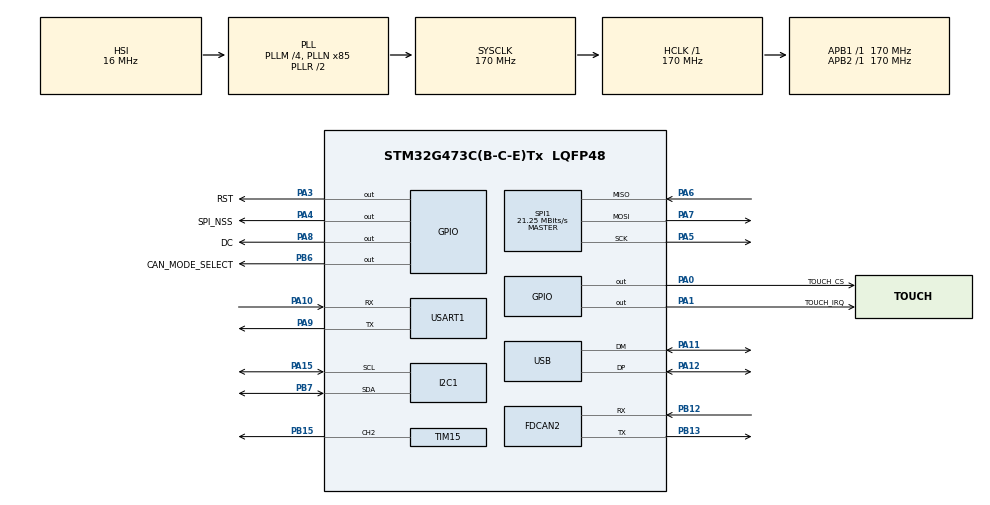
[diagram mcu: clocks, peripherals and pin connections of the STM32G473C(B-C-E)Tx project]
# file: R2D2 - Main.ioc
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Dma.Request0=USART1_RX
Dma.Request1=SPI1_TX
Dma.SPI1_TX.1.Direction=DMA_MEMORY_TO_PERIPH
Dma.SPI1_TX.1.EventEnable=DISABLE
Dma.SPI1_TX.1.Instance=DMA1_Channel2
Dma.SPI1_TX.1.MemDataAlignment=DMA_MDATAALIGN_BYTE
Dma.SPI1_TX.1.MemInc=DMA_MINC_ENABLE
Dma.SPI1_TX.1.Mode=DMA_NORMAL
Dma.SPI1_TX.1.PeriphDataAlignment=DMA_PDATAALIGN_BYTE
Dma.SPI1_TX.1.PeriphInc=DMA_PINC_DISABLE
Dma.SPI1_TX.1.Polarity=HAL_DMAMUX_REQ_GEN_RISING
Dma.SPI1_TX.1.Priority=DMA_PRIORITY_LOW
Dma.SPI1_TX.1.RequestNumber=1
Dma.SPI1_TX.1.SignalID=NONE
Dma.SPI1_TX.1.SyncEnable=DISABLE
Dma.SPI1_TX.1.SyncPolarity=HAL_DMAMUX_SYNC_NO_EVENT
Dma.SPI1_TX.1.SyncRequestNumber=1
Dma.SPI1_TX.1.SyncSignalID=NONE
Dma.USART1_RX.0.Direction=DMA_PERIPH_TO_MEMORY
Dma.USART1_RX.0.EventEnable=DISABLE
Dma.USART1_RX.0.Instance=DMA1_Channel1
Dma.USART1_RX.0.MemDataAlignment=DMA_MDATAALIGN_BYTE
Dma.USART1_RX.0.MemInc=DMA_MINC_ENABLE
Dma.USART1_RX.0.Mode=DMA_CIRCULAR
Dma.USART1_RX.0.PeriphDataAlignment=DMA_PDATAALIGN_BYTE
Dma.USART1_RX.0.PeriphInc=DMA_PINC_DISABLE
Dma.USART1_RX.0.Polarity=HAL_DMAMUX_REQ_GEN_RISING
Dma.USART1_RX.0.Priority=DMA_PRIORITY_LOW
Dma.USART1_RX.0.RequestNumber=1
Dma.USART1_RX.0.SignalID=NONE
Dma.USART1_RX.0.SyncEnable=DISABLE
Dma.USART1_RX.0.SyncPolarity=HAL_DMAMUX_SYNC_NO_EVENT
Dma.USART1_RX.0.SyncRequestNumber=1
Dma.USART1_RX.0.SyncSignalID=NONE
FDCAN2.CalculateBaudRateNominal=50000
FDCAN2.CalculateTimeBitNominal=20000
FDCAN2.CalculateTimeQuantumNominal=588.2352941176471
FDCAN2.NominalPrescaler=100
FDCAN2.NominalTimeSeg1=18
FDCAN2.NominalTimeSeg2=15
I2C1.Timing=0x40B285C2
Mcu.Family=STM32G4
Mcu.Name=STM32G473C(B-C-E)Tx
Mcu.Package=LQFP48
NVIC.DMA1_Channel1_IRQn=true\:0\:0\:false\:false\:true\:false\:true\:true
NVIC.DMA1_Channel2_IRQn=true\:0\:0\:false\:false\:true\:false\:true\:true
NVIC.PriorityGroup=NVIC_PRIORITYGROUP_4
NVIC.SPI1_IRQn=true\:0\:0\:false\:false\:true\:true\:true\:true
NVIC.TIM1_BRK_TIM15_IRQn=true\:0\:0\:false\:false\:true\:true\:true\:true
NVIC.TIM1_UP_TIM16_IRQn=true\:0\:0\:false\:false\:true\:true\:true\:true
NVIC.USART1_IRQn=true\:0\:0\:false\:false\:true\:true\:true\:true
NVIC.USB_LP_IRQn=true\:0\:0\:false\:false\:true\:false\:true\:true
PA0.GPIO_Label=TOUCH_CS
PA0.Signal=GPIO_Output
PA1.GPIO_Label=TOUCH_IRQ
PA1.Signal=GPIO_Output
PA10.Mode=Asynchronous
PA10.Signal=USART1_RX
PA11.Mode=Device
PA11.Signal=USB_DM
PA12.Mode=Device
PA12.Signal=USB_DP
PA13.Mode=Serial_Wire
PA13.Signal=SYS_JTMS-SWDIO
PA14.Mode=Serial_Wire
PA14.Signal=SYS_JTCK-SWCLK
PA15.Mode=I2C
PA15.Signal=I2C1_SCL
PA3.GPIO_Label=RST
PA3.Signal=GPIO_Output
PA4.GPIO_Label=SPI_NSS
PA4.Signal=GPIO_Output
PA5.Mode=Full_Duplex_Master
PA5.Signal=SPI1_SCK
PA6.Mode=Full_Duplex_Master
PA6.Signal=SPI1_MISO
PA7.Mode=Full_Duplex_Master
PA7.Signal=SPI1_MOSI
PA8.GPIO_Label=DC
PA8.Signal=GPIO_Output
PA9.Mode=Asynchronous
PA9.Signal=USART1_TX
PB12.GPIO_PuPd=GPIO_PULLUP
PB12.Mode=FDCAN_Activate
PB12.Signal=FDCAN2_RX
PB13.Mode=FDCAN_Activate
PB13.Signal=FDCAN2_TX
PB15.Signal=S_TIM15_CH2
PB6.GPIO_Label=CAN_MODE_SELECT
PB6.Signal=GPIO_Output
PB7.Mode=I2C
PB7.Signal=I2C1_SDA
ProjectManager.HeapSize=0x200
ProjectManager.StackSize=0x400
ProjectManager.TargetToolchain=STM32CubeIDE
RCC.ADC12Freq_Value=170000000
RCC.ADC345Freq_Value=170000000
RCC.AHBFreq_Value=170000000
RCC.APB1Freq_Value=170000000
RCC.APB1TimFreq_Value=170000000
RCC.APB2Freq_Value=170000000
RCC.APB2TimFreq_Value=170000000
RCC.CK48CLockSelection=RCC_USBCLKSOURCE_HSI48
RCC.CortexFreq_Value=170000000
RCC.EXTERNAL_CLOCK_VALUE=12288000
RCC.HCLKFreq_Value=170000000
RCC.HSE_VALUE=8000000
RCC.HSI48_VALUE=48000000
RCC.HSI_VALUE=16000000
RCC.LSE_VALUE=32768
RCC.PLLM=RCC_PLLM_DIV4
RCC.PLLN=85
RCC.SYSCLKFreq_VALUE=170000000
RCC.SYSCLKSource=RCC_SYSCLKSOURCE_PLLCLK
RCC.USBFreq_Value=48000000
RCC.VCOOutputFreq_Value=340000000
SH.S_TIM15_CH2.0=TIM15_CH2,PWM Generation2 CH2
SPI1.BaudRatePrescaler=SPI_BAUDRATEPRESCALER_8
SPI1.CalculateBaudRate=21.25 MBits/s
SPI1.DataSize=SPI_DATASIZE_8BIT
SPI1.Direction=SPI_DIRECTION_2LINES
SPI1.Mode=SPI_MODE_MASTER
SPI1.VirtualType=VM_MASTER
TIM1.AutoReloadPreload=TIM_AUTORELOAD_PRELOAD_ENABLE
TIM1.ClockDivision=TIM_CLOCKDIVISION_DIV4
TIM1.PeriodNoDither=1500
TIM1.Prescaler=42500-1
TIM15.Channel-PWM\ Generation2\ CH2=TIM_CHANNEL_2
USART1.AutoBaudRateEnableParam=UART_ADVFEATURE_AUTOBAUDRATE_DISABLE
USART1.VirtualMode-Asynchronous=VM_ASYNC
USB_DEVICE.CLASS_NAME_FS=CDC
USB_DEVICE.VirtualMode=Cdc
USB_DEVICE.VirtualModeFS=Cdc_FS
VP_SYS_VS_DBSignals.Mode=DisableDeadBatterySignals
VP_TIM15_VS_ClockSourceINT.Mode=Internal
VP_TIM1_VS_ClockSourceINT.Mode=Internal
VP_USB_DEVICE_VS_USB_DEVICE_CDC_FS.Mode=CDC_FS
board=custom

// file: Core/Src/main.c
/* USER CODE BEGIN Header */
/**
  ******************************************************************************
  * @file           : main.c
  * @brief          : Main program body
  ******************************************************************************
  * @attention
  *
  * Copyright (c) 2024 STMicroelectronics.
  * All rights reserved.
  *
  * This software is licensed under terms that can be found in the LICENSE file
  * in the root directory of this software component.
  * If no LICENSE file comes with this software, it is provided AS-IS.
  *
  ******************************************************************************
  */
/* USER CODE END Header */
#include "main.h"
#include "usb_device.h"

/* USER CODE BEGIN Includes */
#include "stdbool.h"
#include "math.h"
#include "ili9341.h"
#include "ili9341_gfx.h"
#include "bmp.h"
/* USER CODE END Includes */

/* USER CODE BEGIN PD */
#define SECTOR_TOP 0;
#define SECTOR_RIGHT 1;
#define SECTOR_BOTTOM 2;
#define SECTOR_LEFT 3;
/* USER CODE END PD */

FDCAN_HandleTypeDef hfdcan2;

I2C_HandleTypeDef hi2c1;

SPI_HandleTypeDef hspi1;
DMA_HandleTypeDef hdma_spi1_tx;

TIM_HandleTypeDef htim1;
TIM_HandleTypeDef htim15;

UART_HandleTypeDef huart1;
DMA_HandleTypeDef hdma_usart1_rx;

/* USER CODE BEGIN PV */

extern const unsigned char bmp[];

// FDCAN2 Defines
FDCAN_TxHeaderTypeDef   TxHeaderDriveLeft;
FDCAN_TxHeaderTypeDef   TxHeaderDriveRight;
FDCAN_RxHeaderTypeDef   RxHeader1;
uint8_t               TxDataDriveLeft[4];
uint8_t               TxDataDriveRight[4];

uint8_t               RxData1[2];

uint32_t indx;

uint8_t speed;
volatile uint8_t uartRxData[10];
bool uartReceiveEvent;

int8_t joystickX;
int8_t joystickY;

uint8_t pwmDutyCycleLeft;
uint8_t pwmDutyCycleRight;

ili9341_t *_lcd;
ili9341_text_attr_t text;
ili9341_text_attr_t text_connected;
ili9341_text_attr_t text_disconnected;
ili9341_text_attr_t text_battery;

uint16_t lastPointerPositionLeft = 1;
int8_t lastPointerPositionDirectionLeft;
uint16_t lastPointerPositionRight = 1;
int8_t lastPointerPositionDirectionRight;

bool websocketConnected;
/* USER CODE END PV */

void SystemClock_Config(void);
static void MX_GPIO_Init(void);
static void MX_DMA_Init(void);
static void MX_FDCAN2_Init(void);
static void MX_I2C1_Init(void);
static void MX_SPI1_Init(void);
static void MX_USART1_UART_Init(void);
static void MX_TIM15_Init(void);
static void MX_TIM1_Init(void);

/* USER CODE BEGIN 0 */
float calculate_differential_drive_factor(int8_t joystickXpos, int8_t joystickYpos){
	if(joystickXpos > joystickYpos){
		return (1 - (float)joystickYpos / (float)joystickXpos);
	}
	else if(joystickYpos > joystickXpos){
		return (1 - (float)joystickXpos / (float)joystickYpos);
	}
	else{
		return 0;
	}
}

int8_t get_joystick_sector(int8_t joystickXpos, int8_t joystickYpos){
	if(joystickY > 0 && joystickYpos > joystickXpos){
		return SECTOR_BOTTOM;
	}
	else if(joystickX > 0 && joystickXpos > joystickYpos){
		return SECTOR_RIGHT;
	}
	else if(joystickY < 0 && joystickYpos > joystickXpos){
		return SECTOR_TOP;
	}
	else if(joystickX < 0 && joystickXpos > joystickYpos){
		return SECTOR_LEFT;
	}
	else{
		return -1;
	}
}

void calculate_pwm_values(int8_t sector, float differentialDriveFactor){
	if(sector == -1){
		pwmDutyCycleLeft = 0;
		pwmDutyCycleRight = 0;
		TxDataDriveLeft[2] = 'S';
		TxDataDriveRight[2] = 'S';
	}
	else{
		switch(sector){
		case 0: // move forward with steering
			TxDataDriveLeft[2] = 'F';
			TxDataDriveRight[2] = 'F';
			if(joystickX > 0){
				pwmDutyCycleLeft = speed;
				pwmDutyCycleRight = speed * differentialDriveFactor;
			}
			else{
				pwmDutyCycleLeft = speed * differentialDriveFactor;
				pwmDutyCycleRight = speed;
			}
			break;
		case 1: // rotate right
			TxDataDriveLeft[2] = 'F';
			TxDataDriveRight[2] = 'B';
			pwmDutyCycleLeft = speed;
			pwmDutyCycleRight = speed;
			break;
		case 2: // move backward with steering
			TxDataDriveLeft[2] = 'B';
			TxDataDriveRight[2] = 'B';
			if(joystickX > 0){
				pwmDutyCycleLeft = speed * differentialDriveFactor;
				pwmDutyCycleRight = speed;
			}
			else{
				pwmDutyCycleLeft = speed;
				pwmDutyCycleRight = speed * differentialDriveFactor;
			}
			break;
		case 3: // rotate left
			TxDataDriveLeft[2] = 'B';
			TxDataDriveRight[2] = 'F';
			pwmDutyCycleLeft = speed;
			pwmDutyCycleRight = speed;
			break;
		}
	}
}

void display_telemetry(void){
	uint16_t pointerPositionLeft = (pwmDutyCycleLeft - 50) * 1.6;
	if(lastPointerPositionLeft != pointerPositionLeft){
		if(lastPointerPositionDirectionLeft == 'F'){
			ili9341_fill_rect(_lcd, ILI9341_NAVY, 245, 97 - lastPointerPositionLeft, 15, 6);
		}
		else{
			ili9341_fill_rect(_lcd, ILI9341_NAVY, 245, 97 + lastPointerPositionLeft, 15, 6);
		}
		if(TxDataDriveLeft[0] == 'F'){
			ili9341_fill_rect(_lcd, ILI9341_RED, 245, 97 - pointerPositionLeft, 15, 6);
		}
		else{
			ili9341_fill_rect(_lcd, ILI9341_RED, 245, 97 + pointerPositionLeft, 15, 6);
		}
 		lastPointerPositionLeft = pointerPositionLeft;
 		lastPointerPositionDirectionLeft = TxDataDriveLeft[0];
	}

	uint16_t pointerPositionRight = (pwmDutyCycleRight - 50) * 1.6;
	if(lastPointerPositionRight != pointerPositionRight){
		if(lastPointerPositionDirectionRight == 'F'){
			ili9341_fill_rect(_lcd, ILI9341_NAVY, 275, 97 - lastPointerPositionRight, 15, 6);
		}
		else{
			ili9341_fill_rect(_lcd, ILI9341_NAVY, 275, 97 + lastPointerPositionRight, 15, 6);
		}
		if(TxDataDriveRight[0] == 'F'){
			ili9341_fill_rect(_lcd, ILI9341_RED, 275, 97 - pointerPositionRight, 15, 6);
		}
		else{
			ili9341_fill_rect(_lcd, ILI9341_RED, 275, 97 + pointerPositionRight, 15, 6);
		}
		lastPointerPositionRight = pointerPositionRight;
		lastPointerPositionDirectionRight = TxDataDriveRight[0];
	}

	if(websocketConnected){
		ili9341_draw_string(_lcd, text_connected, "Connected    ");
	}
	else{
		ili9341_draw_string(_lcd, text_disconnected, "Disconnected!");
	}
}

void update_battery_indicator(uint8_t battery_level){
	ili9341_draw_rect(_lcd, ILI9341_BLACK, 160, 80, 40, 100);
	ili9341_fill_rect(_lcd, ILI9341_BLACK, 170, 71, 20, 10);

	if(battery_level <= 30){
		text_battery.fg_color = ILI9341_RED;
	}
	else{
		text_battery.fg_color = ILI9341_GREEN;
	}

	char text[5];
	snprintf(text, sizeof(text), "%-3d%%", battery_level);
	ili9341_draw_string(_lcd, text_battery, text);

	if(battery_level >= 75){
		ili9341_fill_rect(_lcd, ILI9341_GREEN, 165, 85, 30, 19);
		ili9341_fill_rect(_lcd, ILI9341_GREEN, 165, 109, 30, 19);
		ili9341_fill_rect(_lcd, ILI9341_GREEN, 165, 133, 30, 19);
		ili9341_fill_rect(_lcd, ILI9341_GREEN, 165, 157, 30, 19);
	}
	else if(battery_level >= 50){
		ili9341_fill_rect(_lcd, ILI9341_NAVY, 165, 85, 30, 19);
		ili9341_fill_rect(_lcd, ILI9341_GREEN, 165, 109, 30, 19);
		ili9341_fill_rect(_lcd, ILI9341_GREEN, 165, 133, 30, 19);
		ili9341_fill_rect(_lcd, ILI9341_GREEN, 165, 157, 30, 19);
	}
	else if(battery_level >= 25){
		ili9341_fill_rect(_lcd, ILI9341_NAVY, 165, 85, 30, 19);
		ili9341_fill_rect(_lcd, ILI9341_NAVY, 165, 109, 30, 19);
		ili9341_fill_rect(_lcd, ILI9341_GREEN, 165, 133, 30, 19);
		ili9341_fill_rect(_lcd, ILI9341_GREEN, 165, 157, 30, 19);
	}
	else{
		ili9341_fill_rect(_lcd, ILI9341_NAVY, 165, 85, 30, 19);
		ili9341_fill_rect(_lcd, ILI9341_NAVY, 165, 109, 30, 19);
		ili9341_fill_rect(_lcd, ILI9341_NAVY, 165, 133, 30, 19);
		ili9341_fill_rect(_lcd, ILI9341_RED, 165, 157, 30, 19);
	}
}
/* USER CODE END 0 */

int main(void)
{

  /* MCU Configuration--------------------------------------------------------*/

  /* Reset of all peripherals, Initializes the Flash interface and the Systick. */
  HAL_Init();

  /* Configure the system clock */
  SystemClock_Config();

  /* Initialize all configured peripherals */
  MX_GPIO_Init();
  MX_DMA_Init();
  MX_FDCAN2_Init();
  MX_I2C1_Init();
  MX_SPI1_Init();
  MX_USART1_UART_Init();
  MX_TIM15_Init();
  MX_USB_Device_Init();
  MX_TIM1_Init();
  /* USER CODE BEGIN 2 */

  if(HAL_FDCAN_Start(&hfdcan2)!= HAL_OK)
  {
   Error_Handler();
  }

  if (HAL_FDCAN_ActivateNotification(&hfdcan2, FDCAN_IT_RX_FIFO0_NEW_MESSAGE, 0) != HAL_OK)
  {
    /* Notification Error */
    Error_Handler();
  }

  // Configure TX Header for FDCAN1
  TxHeaderDriveLeft.Identifier = 0x12;
  TxHeaderDriveLeft.IdType = FDCAN_STANDARD_ID;
  TxHeaderDriveLeft.TxFrameType = FDCAN_DATA_FRAME;
  TxHeaderDriveLeft.DataLength = FDCAN_DLC_BYTES_4;
  TxHeaderDriveLeft.ErrorStateIndicator = FDCAN_ESI_ACTIVE;
  TxHeaderDriveLeft.BitRateSwitch = FDCAN_BRS_OFF;
  TxHeaderDriveLeft.FDFormat = FDCAN_CLASSIC_CAN;
  TxHeaderDriveLeft.TxEventFifoControl = FDCAN_NO_TX_EVENTS;
  TxHeaderDriveLeft.MessageMarker = 0;
  TxDataDriveLeft[0] = 0x10;
  TxDataDriveLeft[1] = 0x00;

  TxHeaderDriveRight.Identifier = 0x13;
  TxHeaderDriveRight.IdType = FDCAN_STANDARD_ID;
  TxHeaderDriveRight.TxFrameType = FDCAN_DATA_FRAME;
  TxHeaderDriveRight.DataLength = FDCAN_DLC_BYTES_4;
  TxHeaderDriveRight.ErrorStateIndicator = FDCAN_ESI_ACTIVE;
  TxHeaderDriveRight.BitRateSwitch = FDCAN_BRS_OFF;
  TxHeaderDriveRight.FDFormat = FDCAN_CLASSIC_CAN;
  TxHeaderDriveRight.TxEventFifoControl = FDCAN_NO_TX_EVENTS;
  TxHeaderDriveRight.MessageMarker = 0;
  TxDataDriveRight[0] = 0x10;
  TxDataDriveRight[1] = 0x00;

  HAL_Delay(1000); // give the ESP01 time to boot (the ESP sends unknown data over UART on boot)
  HAL_UART_Receive_DMA(&huart1, (uint8_t *)uartRxData, sizeof(uartRxData));

  _lcd = ili9341_new(
        &hspi1,
        RST_GPIO_Port, RST_Pin,
        SPI_NSS_GPIO_Port,    SPI_NSS_Pin,
        DC_GPIO_Port,    DC_Pin,
        isoLandscape,
        TOUCH_CS_GPIO_Port,  TOUCH_CS_Pin,
        TOUCH_IRQ_GPIO_Port, TOUCH_IRQ_Pin,
        itsSupported,
        itnNormalized);

  text.bg_color = ILI9341_NAVY;
  text.fg_color = ILI9341_WHITE;
  text.font = &ili9341_font_16x26;
  text.origin_x = 30;
  text.origin_y = 210;

  text_connected.bg_color = ILI9341_NAVY;
  text_connected.fg_color = ILI9341_GREEN;
  text_connected.font = &ili9341_font_7x10;
  text_connected.origin_x = 140;
  text_connected.origin_y = 10;

  text_disconnected.bg_color = ILI9341_NAVY;
  text_disconnected.fg_color = ILI9341_RED;
  text_disconnected.font = &ili9341_font_7x10;
  text_disconnected.origin_x = 140;
  text_disconnected.origin_y = 10;

  text_battery.bg_color = ILI9341_NAVY;
  text_battery.fg_color = ILI9341_GREEN;
  text_battery.font = &ili9341_font_7x10;
  text_battery.origin_x = 165;
  text_battery.origin_y = 60;

  ili9341_fill_screen(_lcd, ILI9341_NAVY);
  ili9341_draw_string(_lcd, text, "R2D2 Version 0.1");
  ili9341_draw_string(_lcd, text_disconnected, "Disconnected!");
  ili9341_draw_rect(_lcd, ILI9341_WHITE, 220, 20, 25, 160);
  ili9341_draw_rect(_lcd, ILI9341_WHITE, 290, 20, 25, 160);

  update_battery_indicator(20);

//  ili9341_draw_bitmap_1b(_lcd, ILI9341_WHITE, ILI9341_NAVY, 100, 100, 4, 4, bmp);
  ili9341_draw_bitmap_1b(_lcd, ILI9341_NAVY, ILI9341_WHITE,
          1, 3, 130, 200, (uint8_t *)bmp);

  HAL_TIM_Base_Start_IT(&htim1);
  /* USER CODE END 2 */

  /* Infinite loop */
  /* USER CODE BEGIN WHILE */
  while (1)
  {
	   if(uartReceiveEvent){
		   if(uartRxData[0] == 'M'){
			   joystickX = atoi((uint8_t *)&uartRxData[1]);
			   joystickY = atoi((uint8_t *)&uartRxData[5]);

			   speed = 0.393700787 * (float)sqrt(joystickX * joystickX + joystickY * joystickY) + 50.0;
			   if(speed > 100){
				   speed = 100;
			   }

			   uint8_t joystickXpos = (joystickX < 0) ? -joystickX : joystickX;
			   uint8_t joystickYpos = (joystickY < 0) ? -joystickY : joystickY;
			   float differentialDriveFactor = calculate_differential_drive_factor(joystickXpos, joystickYpos);
			   int8_t sector = get_joystick_sector(joystickXpos, joystickYpos);
			   calculate_pwm_values(sector, differentialDriveFactor);

			   TxDataDriveLeft[3] = pwmDutyCycleLeft;
			   TxDataDriveRight[3] = pwmDutyCycleRight;

			   HAL_FDCAN_AddMessageToTxFifoQ(&hfdcan2, &TxHeaderDriveLeft, TxDataDriveLeft);
			   HAL_Delay(2);
			   HAL_FDCAN_AddMessageToTxFifoQ(&hfdcan2, &TxHeaderDriveRight, TxDataDriveRight);
		   }
		   else if(uartRxData[0] == 'L'){

		   }
		   else if(uartRxData[0] == 'R'){

		   }
		   else if(uartRxData[0] == 'S'){

		   }
		   else if(strstr(uartRxData, 'connect')){
			   if(uartRxData[0] == '!'){
				   websocketConnected = false;
			   }
			   else{
				   websocketConnected = true;
			   }
		   }
		   uartReceiveEvent = false;
	   }

	   display_telemetry();

    /* USER CODE END WHILE */

  }
}

void SystemClock_Config(void)
{
  RCC_OscInitTypeDef RCC_OscInitStruct = {0};
  RCC_ClkInitTypeDef RCC_ClkInitStruct = {0};

  /** Configure the main internal regulator output voltage
  */
  HAL_PWREx_ControlVoltageScaling(PWR_REGULATOR_VOLTAGE_SCALE1_BOOST);

  /** Initializes the RCC Oscillators according to the specified parameters
  * in the RCC_OscInitTypeDef structure.
  */
  RCC_OscInitStruct.OscillatorType = RCC_OSCILLATORTYPE_HSI|RCC_OSCILLATORTYPE_HSI48;
  RCC_OscInitStruct.HSIState = RCC_HSI_ON;
  RCC_OscInitStruct.HSICalibrationValue = RCC_HSICALIBRATION_DEFAULT;
  RCC_OscInitStruct.HSI48State = RCC_HSI48_ON;
  RCC_OscInitStruct.PLL.PLLState = RCC_PLL_ON;
  RCC_OscInitStruct.PLL.PLLSource = RCC_PLLSOURCE_HSI;
  RCC_OscInitStruct.PLL.PLLM = RCC_PLLM_DIV4;
  RCC_OscInitStruct.PLL.PLLN = 85;
  RCC_OscInitStruct.PLL.PLLP = RCC_PLLP_DIV2;
  RCC_OscInitStruct.PLL.PLLQ = RCC_PLLQ_DIV2;
  RCC_OscInitStruct.PLL.PLLR = RCC_PLLR_DIV2;
  if (HAL_RCC_OscConfig(&RCC_OscInitStruct) != HAL_OK)
  {
    Error_Handler();
  }

  /** Initializes the CPU, AHB and APB buses clocks
  */
  RCC_ClkInitStruct.ClockType = RCC_CLOCKTYPE_HCLK|RCC_CLOCKTYPE_SYSCLK
                              |RCC_CLOCKTYPE_PCLK1|RCC_CLOCKTYPE_PCLK2;
  RCC_ClkInitStruct.SYSCLKSource = RCC_SYSCLKSOURCE_PLLCLK;
  RCC_ClkInitStruct.AHBCLKDivider = RCC_SYSCLK_DIV1;
  RCC_ClkInitStruct.APB1CLKDivider = RCC_HCLK_DIV1;
  RCC_ClkInitStruct.APB2CLKDivider = RCC_HCLK_DIV1;

  if (HAL_RCC_ClockConfig(&RCC_ClkInitStruct, FLASH_LATENCY_4) != HAL_OK)
  {
    Error_Handler();
  }
}

static void MX_FDCAN2_Init(void)
{

  hfdcan2.Instance = FDCAN2;
  hfdcan2.Init.ClockDivider = FDCAN_CLOCK_DIV1;
  hfdcan2.Init.FrameFormat = FDCAN_FRAME_CLASSIC;
  hfdcan2.Init.Mode = FDCAN_MODE_NORMAL;
  hfdcan2.Init.AutoRetransmission = DISABLE;
  hfdcan2.Init.TransmitPause = DISABLE;
  hfdcan2.Init.ProtocolException = DISABLE;
  hfdcan2.Init.NominalPrescaler = 100;
  hfdcan2.Init.NominalSyncJumpWidth = 1;
  hfdcan2.Init.NominalTimeSeg1 = 18;
  hfdcan2.Init.NominalTimeSeg2 = 15;
  hfdcan2.Init.DataPrescaler = 1;
  hfdcan2.Init.DataSyncJumpWidth = 1;
  hfdcan2.Init.DataTimeSeg1 = 1;
  hfdcan2.Init.DataTimeSeg2 = 1;
  hfdcan2.Init.StdFiltersNbr = 0;
  hfdcan2.Init.ExtFiltersNbr = 0;
  hfdcan2.Init.TxFifoQueueMode = FDCAN_TX_FIFO_OPERATION;
  if (HAL_FDCAN_Init(&hfdcan2) != HAL_OK)
  {
    Error_Handler();
  }
  /* USER CODE BEGIN FDCAN2_Init 2 */
  FDCAN_FilterTypeDef sFilterConfig;

  sFilterConfig.IdType = FDCAN_STANDARD_ID;
  sFilterConfig.FilterIndex = 0;
  sFilterConfig.FilterType = FDCAN_FILTER_MASK;
  sFilterConfig.FilterConfig = FDCAN_FILTER_TO_RXFIFO0;
  sFilterConfig.FilterID1 = 0x10;
  sFilterConfig.FilterID2 = 0x10;
  if (HAL_FDCAN_ConfigFilter(&hfdcan2, &sFilterConfig) != HAL_OK)
  {
    /* Filter configuration Error */
    Error_Handler();
  }
  /* USER CODE END FDCAN2_Init 2 */

}

static void MX_I2C1_Init(void)
{

  hi2c1.Instance = I2C1;
  hi2c1.Init.Timing = 0x40B285C2;
  hi2c1.Init.OwnAddress1 = 0;
  hi2c1.Init.AddressingMode = I2C_ADDRESSINGMODE_7BIT;
  hi2c1.Init.DualAddressMode = I2C_DUALADDRESS_DISABLE;
  hi2c1.Init.OwnAddress2 = 0;
  hi2c1.Init.OwnAddress2Masks = I2C_OA2_NOMASK;
  hi2c1.Init.GeneralCallMode = I2C_GENERALCALL_DISABLE;
  hi2c1.Init.NoStretchMode = I2C_NOSTRETCH_DISABLE;
  if (HAL_I2C_Init(&hi2c1) != HAL_OK)
  {
    Error_Handler();
  }

  /** Configure Analogue filter
  */
  if (HAL_I2CEx_ConfigAnalogFilter(&hi2c1, I2C_ANALOGFILTER_ENABLE) != HAL_OK)
  {
    Error_Handler();
  }

  /** Configure Digital filter
  */
  if (HAL_I2CEx_ConfigDigitalFilter(&hi2c1, 0) != HAL_OK)
  {
    Error_Handler();
  }

}

static void MX_SPI1_Init(void)
{

  /* SPI1 parameter configuration*/
  hspi1.Instance = SPI1;
  hspi1.Init.Mode = SPI_MODE_MASTER;
  hspi1.Init.Direction = SPI_DIRECTION_2LINES;
  hspi1.Init.DataSize = SPI_DATASIZE_8BIT;
  hspi1.Init.CLKPolarity = SPI_POLARITY_LOW;
  hspi1.Init.CLKPhase = SPI_PHASE_1EDGE;
  hspi1.Init.NSS = SPI_NSS_SOFT;
  hspi1.Init.BaudRatePrescaler = SPI_BAUDRATEPRESCALER_8;
  hspi1.Init.FirstBit = SPI_FIRSTBIT_MSB;
  hspi1.Init.TIMode = SPI_TIMODE_DISABLE;
  hspi1.Init.CRCCalculation = SPI_CRCCALCULATION_DISABLE;
  hspi1.Init.CRCPolynomial = 7;
  hspi1.Init.CRCLength = SPI_CRC_LENGTH_DATASIZE;
  hspi1.Init.NSSPMode = SPI_NSS_PULSE_ENABLE;
  if (HAL_SPI_Init(&hspi1) != HAL_OK)
  {
    Error_Handler();
  }

}

static void MX_TIM1_Init(void)
{

  TIM_ClockConfigTypeDef sClockSourceConfig = {0};
  TIM_MasterConfigTypeDef sMasterConfig = {0};

  htim1.Instance = TIM1;
  htim1.Init.Prescaler = 42500-1;
  htim1.Init.CounterMode = TIM_COUNTERMODE_UP;
  htim1.Init.Period = 1500;
  htim1.Init.ClockDivision = TIM_CLOCKDIVISION_DIV4;
  htim1.Init.RepetitionCounter = 0;
  htim1.Init.AutoReloadPreload = TIM_AUTORELOAD_PRELOAD_ENABLE;
  if (HAL_TIM_Base_Init(&htim1) != HAL_OK)
  {
    Error_Handler();
  }
  sClockSourceConfig.ClockSource = TIM_CLOCKSOURCE_INTERNAL;
  if (HAL_TIM_ConfigClockSource(&htim1, &sClockSourceConfig) != HAL_OK)
  {
    Error_Handler();
  }
  sMasterConfig.MasterOutputTrigger = TIM_TRGO_RESET;
  sMasterConfig.MasterOutputTrigger2 = TIM_TRGO2_RESET;
  sMasterConfig.MasterSlaveMode = TIM_MASTERSLAVEMODE_DISABLE;
  if (HAL_TIMEx_MasterConfigSynchronization(&htim1, &sMasterConfig) != HAL_OK)
  {
    Error_Handler();
  }

}

static void MX_TIM15_Init(void)
{

  TIM_ClockConfigTypeDef sClockSourceConfig = {0};
  TIM_MasterConfigTypeDef sMasterConfig = {0};
  TIM_OC_InitTypeDef sConfigOC = {0};
  TIM_BreakDeadTimeConfigTypeDef sBreakDeadTimeConfig = {0};

  htim15.Instance = TIM15;
  htim15.Init.Prescaler = 0;
  htim15.Init.CounterMode = TIM_COUNTERMODE_UP;
  htim15.Init.Period = 65535;
  htim15.Init.ClockDivision = TIM_CLOCKDIVISION_DIV1;
  htim15.Init.RepetitionCounter = 0;
  htim15.Init.AutoReloadPreload = TIM_AUTORELOAD_PRELOAD_DISABLE;
  if (HAL_TIM_Base_Init(&htim15) != HAL_OK)
  {
    Error_Handler();
  }
  sClockSourceConfig.ClockSource = TIM_CLOCKSOURCE_INTERNAL;
  if (HAL_TIM_ConfigClockSource(&htim15, &sClockSourceConfig) != HAL_OK)
  {
    Error_Handler();
  }
  if (HAL_TIM_PWM_Init(&htim15) != HAL_OK)
  {
    Error_Handler();
  }
  sMasterConfig.MasterOutputTrigger = TIM_TRGO_RESET;
  sMasterConfig.MasterSlaveMode = TIM_MASTERSLAVEMODE_DISABLE;
  if (HAL_TIMEx_MasterConfigSynchronization(&htim15, &sMasterConfig) != HAL_OK)
  {
    Error_Handler();
  }
  sConfigOC.OCMode = TIM_OCMODE_PWM1;
  sConfigOC.Pulse = 0;
  sConfigOC.OCPolarity = TIM_OCPOLARITY_HIGH;
  sConfigOC.OCNPolarity = TIM_OCNPOLARITY_HIGH;
  sConfigOC.OCFastMode = TIM_OCFAST_DISABLE;
  sConfigOC.OCIdleState = TIM_OCIDLESTATE_RESET;
  sConfigOC.OCNIdleState = TIM_OCNIDLESTATE_RESET;
  if (HAL_TIM_PWM_ConfigChannel(&htim15, &sConfigOC, TIM_CHANNEL_2) != HAL_OK)
  {
    Error_Handler();
  }
  sBreakDeadTimeConfig.OffStateRunMode = TIM_OSSR_DISABLE;
  sBreakDeadTimeConfig.OffStateIDLEMode = TIM_OSSI_DISABLE;
  sBreakDeadTimeConfig.LockLevel = TIM_LOCKLEVEL_OFF;
  sBreakDeadTimeConfig.DeadTime = 0;
  sBreakDeadTimeConfig.BreakState = TIM_BREAK_DISABLE;
  sBreakDeadTimeConfig.BreakPolarity = TIM_BREAKPOLARITY_HIGH;
  sBreakDeadTimeConfig.BreakFilter = 0;
  sBreakDeadTimeConfig.AutomaticOutput = TIM_AUTOMATICOUTPUT_DISABLE;
  if (HAL_TIMEx_ConfigBreakDeadTime(&htim15, &sBreakDeadTimeConfig) != HAL_OK)
  {
    Error_Handler();
  }
  HAL_TIM_MspPostInit(&htim15);

}

static void MX_USART1_UART_Init(void)
{

  huart1.Instance = USART1;
  huart1.Init.BaudRate = 115200;
  huart1.Init.WordLength = UART_WORDLENGTH_8B;
  huart1.Init.StopBits = UART_STOPBITS_1;
  huart1.Init.Parity = UART_PARITY_NONE;
  huart1.Init.Mode = UART_MODE_TX_RX;
  huart1.Init.HwFlowCtl = UART_HWCONTROL_NONE;
  huart1.Init.OverSampling = UART_OVERSAMPLING_16;
  huart1.Init.OneBitSampling = UART_ONE_BIT_SAMPLE_DISABLE;
  huart1.Init.ClockPrescaler = UART_PRESCALER_DIV1;
  huart1.AdvancedInit.AdvFeatureInit = UART_ADVFEATURE_NO_INIT;
  if (HAL_UART_Init(&huart1) != HAL_OK)
  {
    Error_Handler();
  }
  if (HAL_UARTEx_SetTxFifoThreshold(&huart1, UART_TXFIFO_THRESHOLD_1_8) != HAL_OK)
  {
    Error_Handler();
  }
  if (HAL_UARTEx_SetRxFifoThreshold(&huart1, UART_RXFIFO_THRESHOLD_1_8) != HAL_OK)
  {
    Error_Handler();
  }
  if (HAL_UARTEx_DisableFifoMode(&huart1) != HAL_OK)
  {
    Error_Handler();
  }

}

static void MX_DMA_Init(void)
{

  /* DMA controller clock enable */
  __HAL_RCC_DMAMUX1_CLK_ENABLE();
  __HAL_RCC_DMA1_CLK_ENABLE();

  /* DMA interrupt init */
  /* DMA1_Channel1_IRQn interrupt configuration */
  HAL_NVIC_SetPriority(DMA1_Channel1_IRQn, 0, 0);
  HAL_NVIC_EnableIRQ(DMA1_Channel1_IRQn);
  /* DMA1_Channel2_IRQn interrupt configuration */
  HAL_NVIC_SetPriority(DMA1_Channel2_IRQn, 0, 0);
  HAL_NVIC_EnableIRQ(DMA1_Channel2_IRQn);

}

static void MX_GPIO_Init(void)
{
  GPIO_InitTypeDef GPIO_InitStruct = {0};

  /* GPIO Ports Clock Enable */
  __HAL_RCC_GPIOA_CLK_ENABLE();
  __HAL_RCC_GPIOB_CLK_ENABLE();

  /*Configure GPIO pin Output Level */
  HAL_GPIO_WritePin(GPIOA, TOUCH_CS_Pin|TOUCH_IRQ_Pin|RST_Pin|SPI_NSS_Pin
                          |DC_Pin, GPIO_PIN_RESET);

  /*Configure GPIO pin Output Level */
  HAL_GPIO_WritePin(CAN_MODE_SELECT_GPIO_Port, CAN_MODE_SELECT_Pin, GPIO_PIN_RESET);

  /*Configure GPIO pins : TOUCH_CS_Pin TOUCH_IRQ_Pin RST_Pin SPI_NSS_Pin
                           DC_Pin */
  GPIO_InitStruct.Pin = TOUCH_CS_Pin|TOUCH_IRQ_Pin|RST_Pin|SPI_NSS_Pin
                          |DC_Pin;
  GPIO_InitStruct.Mode = GPIO_MODE_OUTPUT_PP;
  GPIO_InitStruct.Pull = GPIO_NOPULL;
  GPIO_InitStruct.Speed = GPIO_SPEED_FREQ_LOW;
  HAL_GPIO_Init(GPIOA, &GPIO_InitStruct);

  /*Configure GPIO pin : CAN_MODE_SELECT_Pin */
  GPIO_InitStruct.Pin = CAN_MODE_SELECT_Pin;
  GPIO_InitStruct.Mode = GPIO_MODE_OUTPUT_PP;
  GPIO_InitStruct.Pull = GPIO_NOPULL;
  GPIO_InitStruct.Speed = GPIO_SPEED_FREQ_LOW;
  HAL_GPIO_Init(CAN_MODE_SELECT_GPIO_Port, &GPIO_InitStruct);

}

/* USER CODE BEGIN 4 */
void HAL_UART_RxCpltCallback(UART_HandleTypeDef *huart){
	uartReceiveEvent = true;
	__HAL_TIM_SET_COUNTER(&htim1, 0);
	websocketConnected = true;
}

void HAL_TIM_PeriodElapsedCallback(TIM_HandleTypeDef *htim){
	websocketConnected = false;
}

// FDCAN1 Callback
void HAL_FDCAN_RxFifo0Callback(FDCAN_HandleTypeDef *hfdcan, uint32_t RxFifo0ITs)
{
  if((RxFifo0ITs & FDCAN_IT_RX_FIFO0_NEW_MESSAGE) != RESET)
  {
    /* Retreive Rx messages from RX FIFO0 */
    if (HAL_FDCAN_GetRxMessage(hfdcan, FDCAN_RX_FIFO0, &RxHeader1, RxData1) != HAL_OK)
    {
    /* Reception Error */
    Error_Handler();
    }

    if (HAL_FDCAN_ActivateNotification(hfdcan, FDCAN_IT_RX_FIFO0_NEW_MESSAGE, 0) != HAL_OK)
    {
      /* Notification Error */
      Error_Handler();
    }
  }
}
/* USER CODE END 4 */

void Error_Handler(void)
{
  __disable_irq();
  while (1)
  {
  }
}
